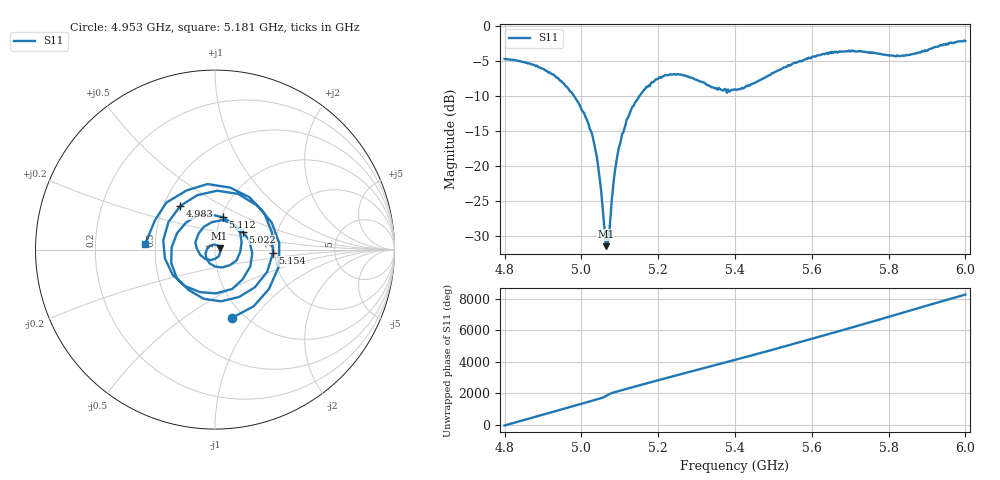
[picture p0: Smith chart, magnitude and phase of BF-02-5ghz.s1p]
! NanoVNA-App
! Date: 2026-05-22 18:06:22
! Start: 4.8GHz Stop: 6GHz Points: 401
! S-Parameter data: F S11
# Hz S RI R 50
!  Frequency  S11_Real  S11_Imag
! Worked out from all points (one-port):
!   401 points, 4.8 GHz to 6 GHz, reference 50 ohm
!   lowest |S11| = -31.4 dB at 5.064 GHz (marker M1), VSWR 1.06, Z = 52.6 + j0.824 ohm
!   |S11| at or under -10 dB: 4.981 GHz to 5.151 GHz (170.1 MHz wide, 3.36 % of centre)
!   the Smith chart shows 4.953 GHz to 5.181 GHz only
!   S11 on the Smith chart (normalised r, x): 4.953 GHz: 0.88, -0.79; 4.983 GHz: 0.61, +0.33; 5.022 GHz: 1.33, +0.28; 5.112 GHz: 1.02, +0.38; 5.154 GHz: 1.95, -0.08; 5.181 GHz: 0.44, +0.03
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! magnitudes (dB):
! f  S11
! 4.8 GHz  -4.7
! 4.878 GHz  -5.6
! 4.95 GHz  -8.1
! 4.953 GHz  -8.1
! 4.983 GHz  -10.1
! 5.022 GHz  -14.7
! 5.034 GHz  -17.0
! 5.043 GHz  -19.8
! 5.049 GHz  -22.4
! 5.061 GHz  -29.7
! 5.064 GHz  -31.4
! 5.07 GHz  -30.7
! 5.085 GHz  -21.7
! 5.091 GHz  -19.4
! 5.1 GHz  -17.0
! 5.112 GHz  -14.7
! 5.133 GHz  -11.5
! 5.154 GHz  -9.8
! 5.181 GHz  -8.2
! 5.217 GHz  -7.0
! 5.25 GHz  -6.9
! 5.349 GHz  -8.9
! 5.4 GHz  -9.0
! 5.55 GHz  -5.4
! 5.634 GHz  -4.0
! 5.7 GHz  -3.7
! 5.85 GHz  -4.2
! 6 GHz  -2.1
